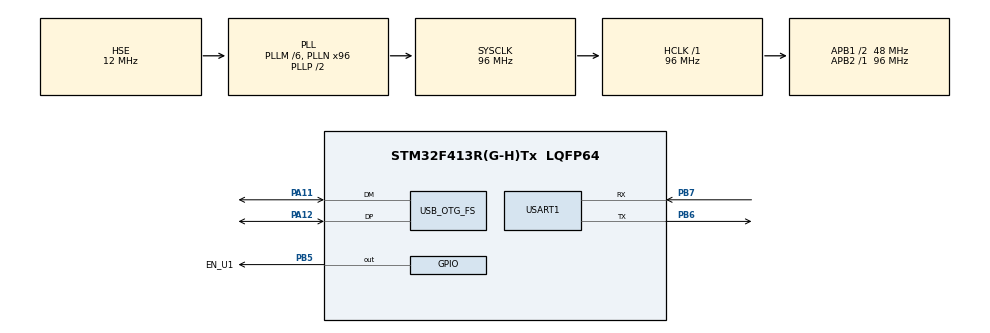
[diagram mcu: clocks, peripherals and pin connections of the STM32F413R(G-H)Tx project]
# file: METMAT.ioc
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Mcu.Family=STM32F4
Mcu.Name=STM32F413R(G-H)Tx
Mcu.Package=LQFP64
NVIC.OTG_FS_IRQn=true\:0\:0\:false\:false\:true\:false\:true\:true
NVIC.PriorityGroup=NVIC_PRIORITYGROUP_4
NVIC.USART1_IRQn=true\:0\:0\:false\:false\:true\:true\:true\:true
PA11.Mode=Device_Only
PA11.Signal=USB_OTG_FS_DM
PA12.Mode=Device_Only
PA12.Signal=USB_OTG_FS_DP
PB5.GPIO_Label=EN_U1
PB5.Signal=GPIO_Output
PB6.Mode=Asynchronous
PB6.Signal=USART1_TX
PB7.Mode=Asynchronous
PB7.Signal=USART1_RX
PH0\ -\ OSC_IN.Mode=HSE-External-Oscillator
PH0\ -\ OSC_IN.Signal=RCC_OSC_IN
PH1\ -\ OSC_OUT.Mode=HSE-External-Oscillator
PH1\ -\ OSC_OUT.Signal=RCC_OSC_OUT
ProjectManager.HeapSize=0x200
ProjectManager.StackSize=0x400
ProjectManager.TargetToolchain=MDK-ARM V5.32
RCC.AHBFreq_Value=96000000
RCC.APB1CLKDivider=RCC_HCLK_DIV2
RCC.APB1Freq_Value=48000000
RCC.APB1TimFreq_Value=96000000
RCC.APB2Freq_Value=96000000
RCC.APB2TimFreq_Value=96000000
RCC.CortexFreq_Value=96000000
RCC.EnbaleCSS=true
RCC.HCLKFreq_Value=96000000
RCC.HSE_VALUE=12000000
RCC.PLLM=6
RCC.PLLN=96
RCC.PLLQ=4
RCC.PLLSourceVirtual=RCC_PLLSOURCE_HSE
RCC.SYSCLKFreq_VALUE=96000000
RCC.SYSCLKSource=RCC_SYSCLKSOURCE_PLLCLK
RCC.USBFreq_Value=48000000
RCC.VCOOutputFreq_Value=192000000
USART1.VirtualMode=VM_ASYNC
USB_DEVICE.CLASS_NAME_FS=CDC
USB_DEVICE.VirtualMode=Cdc
USB_DEVICE.VirtualModeFS=Cdc_FS
USB_OTG_FS.VirtualMode=Device_Only
VP_USB_DEVICE_VS_USB_DEVICE_CDC_FS.Mode=CDC_FS
board=custom

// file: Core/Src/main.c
/* USER CODE BEGIN Header */
/**
 ******************************************************************************
 * @file           : main.c
 * @brief          : Main program body
 ******************************************************************************
 * @attention
 *
 * <h2><center>&copy; Copyright (c) 2023 STMicroelectronics.
 * All rights reserved.</center></h2>
 *
 * This software component is licensed by ST under Ultimate Liberty license
 * SLA0044, the "License"; You may not use this file except in compliance with
 * the License. You may obtain a copy of the License at:
 *                             www.st.com/SLA0044
 *
 ******************************************************************************
 */
/* USER CODE END Header */
#include "main.h"
#include "usart.h"
#include "usb_device.h"
#include "gpio.h"

/* USER CODE BEGIN Includes */
#include "usbd_cdc_if.h"
/* USER CODE END Includes */

/* USER CODE BEGIN PV */
uint8_t str[1];
uint8_t dataReceived = 0;    // ������� ������ ��������
uint8_t dataTransmitted = 1; // ������� ������ ��������
uint8_t *Buf;

uint8_t flagBoard = 0;            // ??????? ?????? ????????
uint8_t receiveRingBuf[32] = {0}; // ??????? ?????? ????????

uint8_t requestTemperature = 0x5e;
uint8_t exitTemperature8[12] = {0};

// uart

uint8_t RxData[256] = {0};
uint8_t RxData6[60] = {0};
int indx = 0;
uint8_t fullPacket[12] = {0xFD, 0x55, 0};

uint8_t RxDataUSART1[16] = {0};
//-------------USB

uint8_t RxDataUSB[255] = {0};
uint32_t RxDataUSB_len = 0;

/* USER CODE END PV */

void SystemClock_Config(void);

int main(void)
{

  /* MCU Configuration--------------------------------------------------------*/

  /* Reset of all peripherals, Initializes the Flash interface and the Systick. */
  HAL_Init();

  /* Configure the system clock */
  SystemClock_Config();

  /* Initialize all configured peripherals */
  MX_GPIO_Init();
  MX_USB_DEVICE_Init();
  MX_USART1_UART_Init();
  /* USER CODE BEGIN 2 */
//  HAL_GPIO_WritePin(GPIOC, GPIO_PIN_4, GPIO_PIN_RESET);

// __HAL_UART_ENABLE_IT(&huart4, UART_IT_IDLE);

// HAL_UART_Receive_IT(&huart4, &receiveRingBuf[0], 12);

//  HAL_UARTEx_ReceiveToIdle_IT(&huart4, RxData, sizeof(RxData));
//  HAL_UARTEx_ReceiveToIdle_IT(&huart6, RxData6, sizeof(RxData6));

//  HAL_UARTEx_ReceiveToIdle_IT(&huart3, RxDataUSART3, sizeof(RxDataUSART3));
  HAL_UARTEx_ReceiveToIdle_IT(&huart1, RxDataUSART1, sizeof(RxDataUSART1));

  /* USER CODE END 2 */

  /* Infinite loop */
  /* USER CODE BEGIN WHILE */
  while (1)
  {

//    HAL_Delay(1);
    // if (flagBoard & INTERRUPT_USB_MASK)
    if (flagBoard == 1)
    {
      //          flagBoard &= 0xFE;

      flagBoard = 0;

      HAL_GPIO_TogglePin(GPIOC, GPIO_PIN_11);
//
      PIN_EN_TRANSMIT_USART1(1);
      HAL_UART_Transmit_IT(&huart1, RxDataUSB, RxDataUSB_len);

      HAL_Delay(3);
      PIN_EN_TRANSMIT_USART1(0);

    }

    /* USER CODE END WHILE */

  }
}

void SystemClock_Config(void)
{
  RCC_OscInitTypeDef RCC_OscInitStruct = {0};
  RCC_ClkInitTypeDef RCC_ClkInitStruct = {0};

  /** Configure the main internal regulator output voltage
  */
  __HAL_RCC_PWR_CLK_ENABLE();
  __HAL_PWR_VOLTAGESCALING_CONFIG(PWR_REGULATOR_VOLTAGE_SCALE1);
  /** Initializes the RCC Oscillators according to the specified parameters
  * in the RCC_OscInitTypeDef structure.
  */
  RCC_OscInitStruct.OscillatorType = RCC_OSCILLATORTYPE_HSE;
  RCC_OscInitStruct.HSEState = RCC_HSE_ON;
  RCC_OscInitStruct.PLL.PLLState = RCC_PLL_ON;
  RCC_OscInitStruct.PLL.PLLSource = RCC_PLLSOURCE_HSE;
  RCC_OscInitStruct.PLL.PLLM = 6;
  RCC_OscInitStruct.PLL.PLLN = 96;
  RCC_OscInitStruct.PLL.PLLP = RCC_PLLP_DIV2;
  RCC_OscInitStruct.PLL.PLLQ = 4;
  RCC_OscInitStruct.PLL.PLLR = 2;
  if (HAL_RCC_OscConfig(&RCC_OscInitStruct) != HAL_OK)
  {
    Error_Handler();
  }
  /** Initializes the CPU, AHB and APB buses clocks
  */
  RCC_ClkInitStruct.ClockType = RCC_CLOCKTYPE_HCLK|RCC_CLOCKTYPE_SYSCLK
                              |RCC_CLOCKTYPE_PCLK1|RCC_CLOCKTYPE_PCLK2;
  RCC_ClkInitStruct.SYSCLKSource = RCC_SYSCLKSOURCE_PLLCLK;
  RCC_ClkInitStruct.AHBCLKDivider = RCC_SYSCLK_DIV1;
  RCC_ClkInitStruct.APB1CLKDivider = RCC_HCLK_DIV2;
  RCC_ClkInitStruct.APB2CLKDivider = RCC_HCLK_DIV1;

  if (HAL_RCC_ClockConfig(&RCC_ClkInitStruct, FLASH_LATENCY_3) != HAL_OK)
  {
    Error_Handler();
  }
  /** Enables the Clock Security System
  */
  HAL_RCC_EnableCSS();
}

/* USER CODE BEGIN 4 */

void HAL_UARTEx_RxEventCallback(UART_HandleTypeDef *huart, uint16_t Size)
{

  // const float DS18B20_T_STEP_float = 0.0625;
  const uint8_t startWord8[2] = {0xFD, 0x55};
  indx = Size;

	if (huart->Instance == USART1) // check if the interrupt comes from
  {

		if (memcmp(RxDataUSART1, RxDataUSB, Size))
    {
			CDC_Transmit_FS(&RxDataUSART1[0], Size);
    }

//		if (strncmp(RxDataUSART3, RxDataUSB, Size))
//    {
//			CDC_Transmit_FS(&RxDataUSART3[0], Size);
//    }

    HAL_UARTEx_ReceiveToIdle_IT(&huart1, RxDataUSART1, sizeof(RxDataUSART1));
  }

}

/* USER CODE END 4 */

void Error_Handler(void)
{
  __disable_irq();
  while (1)
  {
  }
}

/************************ (C) COPYRIGHT STMicroelectronics *****END OF FILE****/
